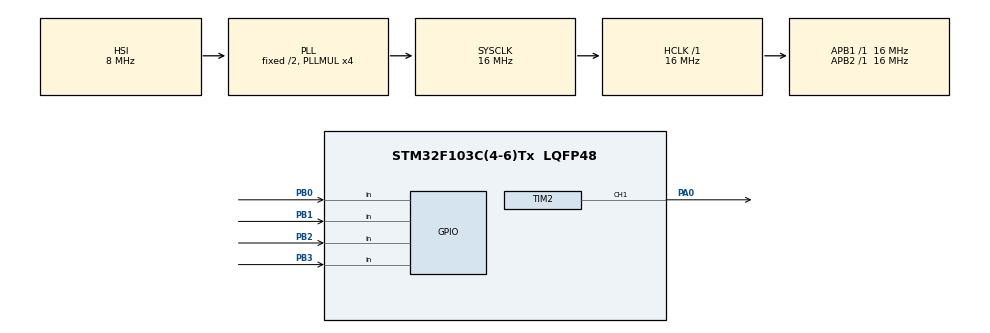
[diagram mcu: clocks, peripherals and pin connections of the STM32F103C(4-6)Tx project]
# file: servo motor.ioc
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Mcu.Family=STM32F1
Mcu.Name=STM32F103C(4-6)Tx
Mcu.Package=LQFP48
NVIC.PriorityGroup=NVIC_PRIORITYGROUP_4
PA0-WKUP.Signal=S_TIM2_CH1_ETR
PB0.GPIO_PuPd=GPIO_PULLDOWN
PB0.Signal=GPIO_Input
PB1.GPIO_PuPd=GPIO_PULLDOWN
PB1.Signal=GPIO_Input
PB2.GPIO_PuPd=GPIO_PULLDOWN
PB2.Signal=GPIO_Input
PB3.GPIO_PuPd=GPIO_PULLDOWN
PB3.Signal=GPIO_Input
ProjectManager.HeapSize=0x200
ProjectManager.StackSize=0x400
ProjectManager.TargetToolchain=STM32CubeIDE
RCC.AHBFreq_Value=16000000
RCC.APB1Freq_Value=16000000
RCC.APB1TimFreq_Value=16000000
RCC.APB2Freq_Value=16000000
RCC.APB2TimFreq_Value=16000000
RCC.HCLKFreq_Value=16000000
RCC.PLLMUL=RCC_PLL_MUL4
RCC.SYSCLKFreq_VALUE=16000000
RCC.SYSCLKSource=RCC_SYSCLKSOURCE_PLLCLK
RCC.USBFreq_Value=16000000
SH.S_TIM2_CH1_ETR.0=TIM2_CH1,PWM Generation1 CH1
TIM2.Channel-PWM\ Generation1\ CH1=TIM_CHANNEL_1
TIM2.Period=20000-1
TIM2.Prescaler=16-1
VP_SYS_VS_ND.Mode=No_Debug
VP_TIM2_VS_ClockSourceINT.Mode=Internal
board=custom

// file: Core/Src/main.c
/* USER CODE BEGIN Header */
/**
  ******************************************************************************
  * @file           : main.c
  * @brief          : Main program body
  ******************************************************************************
  * @attention
  *
  * Copyright (c) 2024 STMicroelectronics.
  * All rights reserved.
  *
  * This software is licensed under terms that can be found in the LICENSE file
  * in the root directory of this software component.
  * If no LICENSE file comes with this software, it is provided AS-IS.
  *
  ******************************************************************************
  */
/* USER CODE END Header */
#include "main.h"

/* USER CODE BEGIN PD */
// Button definitions
#define BTN_45_PIN  GPIO_PIN_0
#define BTN_90_PIN  GPIO_PIN_1
#define BTN_N45_PIN GPIO_PIN_2
#define BTN_N90_PIN GPIO_PIN_3
#define BTN_PORT    GPIOB
/* USER CODE END PD */

TIM_HandleTypeDef htim2;

/* USER CODE BEGIN PV */
int16_t currentAngle = 0;  // Start at 90 degrees
/* USER CODE END PV */

void SystemClock_Config(void);
static void MX_GPIO_Init(void);
static void MX_TIM2_Init(void);

/* USER CODE BEGIN 0 */
void SetServoAngle(int16_t angle)
{
  /* Ensure angle is within valid range */
  if (angle < 0) angle = 0;
  if (angle > 180) angle = 180;

  /* Calculate pulse width in microseconds */
// uint32_t pulse = (angle * 1000 / 180) + 500 + 1000;
  //uint32_t pulse = (angle * 1000) / 180 + 1000; // Calculate pulse width in microseconds
  uint32_t pulse = (angle * 1000) / 180 + 1000; // Calculate pulse width in microseconds
  __HAL_TIM_SET_COMPARE(&htim2, TIM_CHANNEL_1, pulse);

  currentAngle = angle;  // Update current angle
}
void CheckButtons(void)
{
  if (HAL_GPIO_ReadPin(BTN_PORT, BTN_45_PIN) == GPIO_PIN_SET)
  {
    SetServoAngle(45);
  }
  else if (HAL_GPIO_ReadPin(BTN_PORT, BTN_90_PIN) == GPIO_PIN_SET)
  {
    SetServoAngle(90);
  }
  else if (HAL_GPIO_ReadPin(BTN_PORT, BTN_N45_PIN) == GPIO_PIN_SET)
  {
    SetServoAngle(135);
  }
  else if (HAL_GPIO_ReadPin(BTN_PORT, BTN_N90_PIN) == GPIO_PIN_SET)
  {
    SetServoAngle(180);
  }
  else
  {
    SetServoAngle(currentAngle);
  }
}
/* USER CODE END 0 */

int main(void)
{

  /* MCU Configuration--------------------------------------------------------*/

  /* Reset of all peripherals, Initializes the Flash interface and the Systick. */
  HAL_Init();

  /* Configure the system clock */
  SystemClock_Config();

  /* Initialize all configured peripherals */
  MX_GPIO_Init();
  MX_TIM2_Init();
  /* USER CODE BEGIN 2 */
  HAL_TIM_PWM_Start(&htim2, TIM_CHANNEL_1);

  /* USER CODE END 2 */

  /* Infinite loop */
  /* USER CODE BEGIN WHILE */
  while (1)
  {
    CheckButtons();
    HAL_Delay(50);
    /* USER CODE END WHILE */

  }
}

void SystemClock_Config(void)
{
  RCC_OscInitTypeDef RCC_OscInitStruct = {0};
  RCC_ClkInitTypeDef RCC_ClkInitStruct = {0};

  /** Initializes the RCC Oscillators according to the specified parameters
  * in the RCC_OscInitTypeDef structure.
  */
  RCC_OscInitStruct.OscillatorType = RCC_OSCILLATORTYPE_HSI;
  RCC_OscInitStruct.HSIState = RCC_HSI_ON;
  RCC_OscInitStruct.HSICalibrationValue = RCC_HSICALIBRATION_DEFAULT;
  RCC_OscInitStruct.PLL.PLLState = RCC_PLL_ON;
  RCC_OscInitStruct.PLL.PLLSource = RCC_PLLSOURCE_HSI_DIV2;
  RCC_OscInitStruct.PLL.PLLMUL = RCC_PLL_MUL4;
  if (HAL_RCC_OscConfig(&RCC_OscInitStruct) != HAL_OK)
  {
    Error_Handler();
  }

  /** Initializes the CPU, AHB and APB buses clocks
  */
  RCC_ClkInitStruct.ClockType = RCC_CLOCKTYPE_HCLK|RCC_CLOCKTYPE_SYSCLK
                              |RCC_CLOCKTYPE_PCLK1|RCC_CLOCKTYPE_PCLK2;
  RCC_ClkInitStruct.SYSCLKSource = RCC_SYSCLKSOURCE_PLLCLK;
  RCC_ClkInitStruct.AHBCLKDivider = RCC_SYSCLK_DIV1;
  RCC_ClkInitStruct.APB1CLKDivider = RCC_HCLK_DIV1;
  RCC_ClkInitStruct.APB2CLKDivider = RCC_HCLK_DIV1;

  if (HAL_RCC_ClockConfig(&RCC_ClkInitStruct, FLASH_LATENCY_0) != HAL_OK)
  {
    Error_Handler();
  }
}

static void MX_TIM2_Init(void)
{

  TIM_ClockConfigTypeDef sClockSourceConfig = {0};
  TIM_MasterConfigTypeDef sMasterConfig = {0};
  TIM_OC_InitTypeDef sConfigOC = {0};

  htim2.Instance = TIM2;
  htim2.Init.Prescaler = 16-1;
  htim2.Init.CounterMode = TIM_COUNTERMODE_UP;
  htim2.Init.Period = 20000-1;
  htim2.Init.ClockDivision = TIM_CLOCKDIVISION_DIV1;
  htim2.Init.AutoReloadPreload = TIM_AUTORELOAD_PRELOAD_DISABLE;
  if (HAL_TIM_Base_Init(&htim2) != HAL_OK)
  {
    Error_Handler();
  }
  sClockSourceConfig.ClockSource = TIM_CLOCKSOURCE_INTERNAL;
  if (HAL_TIM_ConfigClockSource(&htim2, &sClockSourceConfig) != HAL_OK)
  {
    Error_Handler();
  }
  if (HAL_TIM_PWM_Init(&htim2) != HAL_OK)
  {
    Error_Handler();
  }
  sMasterConfig.MasterOutputTrigger = TIM_TRGO_RESET;
  sMasterConfig.MasterSlaveMode = TIM_MASTERSLAVEMODE_DISABLE;
  if (HAL_TIMEx_MasterConfigSynchronization(&htim2, &sMasterConfig) != HAL_OK)
  {
    Error_Handler();
  }
  sConfigOC.OCMode = TIM_OCMODE_PWM1;
  sConfigOC.Pulse = 0;
  sConfigOC.OCPolarity = TIM_OCPOLARITY_HIGH;
  sConfigOC.OCFastMode = TIM_OCFAST_DISABLE;
  if (HAL_TIM_PWM_ConfigChannel(&htim2, &sConfigOC, TIM_CHANNEL_1) != HAL_OK)
  {
    Error_Handler();
  }
  HAL_TIM_MspPostInit(&htim2);

}

static void MX_GPIO_Init(void)
{
  GPIO_InitTypeDef GPIO_InitStruct = {0};

  /* GPIO Ports Clock Enable */
  __HAL_RCC_GPIOA_CLK_ENABLE();
  __HAL_RCC_GPIOB_CLK_ENABLE();

  /*Configure GPIO pins : PB0 PB1 PB2 PB3 */
  GPIO_InitStruct.Pin = GPIO_PIN_0|GPIO_PIN_1|GPIO_PIN_2|GPIO_PIN_3;
  GPIO_InitStruct.Mode = GPIO_MODE_INPUT;
  GPIO_InitStruct.Pull = GPIO_PULLDOWN;
  HAL_GPIO_Init(GPIOB, &GPIO_InitStruct);

}

void Error_Handler(void)
{
  __disable_irq();
  while (1)
  {
  }
}
